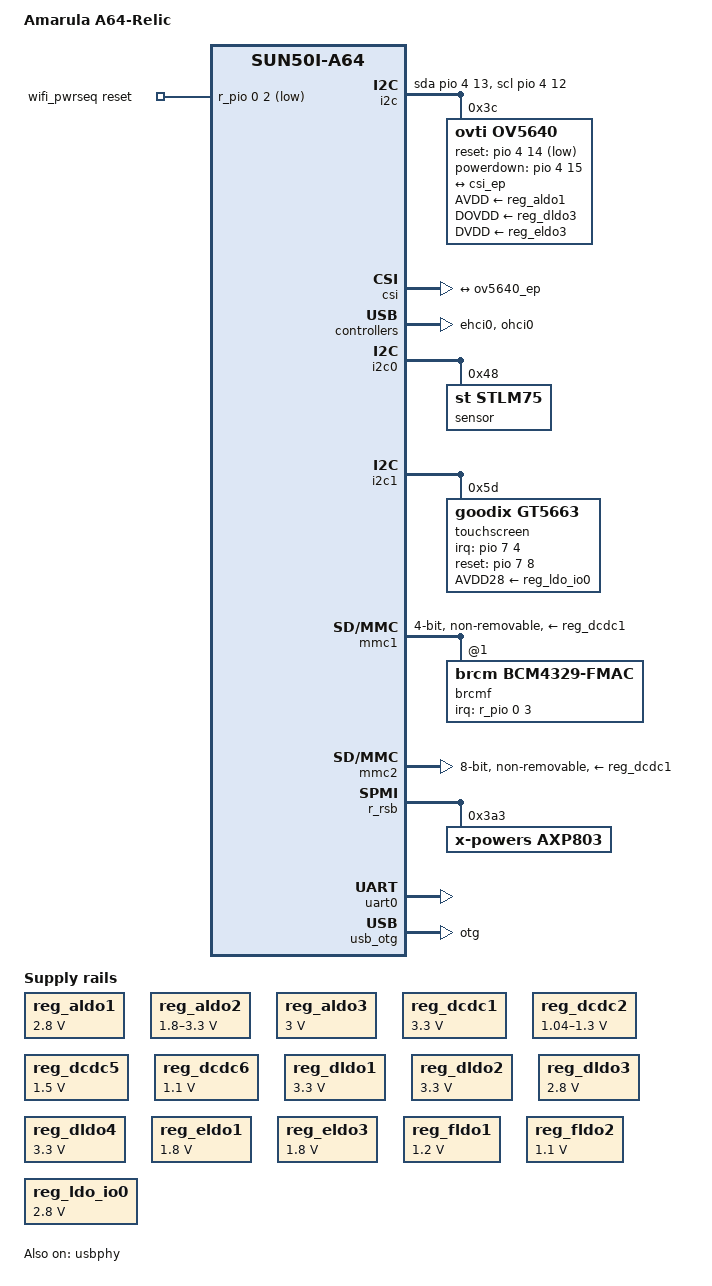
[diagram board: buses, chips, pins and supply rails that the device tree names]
// SPDX-License-Identifier: (GPL-2.0+ OR MIT)
/*
 * Copyright (C) 2018 Amarula Solutions B.V.
 * Author: Jagan Teki <jagan@amarulasolutions.com>
 */

/dts-v1/;

#include "sun50i-a64.dtsi"

#include <dt-bindings/gpio/gpio.h>

/ {
	model = "Amarula A64-Relic";
	compatible = "amarula,a64-relic", "allwinner,sun50i-a64";

	aliases {
		serial0 = &uart0;
	};

	chosen {
		stdout-path = "serial0:115200n8";
	};

	i2c {
		compatible = "i2c-gpio";
		sda-gpios = <&pio 4 13 GPIO_ACTIVE_HIGH>;
		scl-gpios = <&pio 4 12 GPIO_ACTIVE_HIGH>;
		i2c-gpio,delay-us = <5>;
		#address-cells = <1>;
		#size-cells = <0>;

		ov5640: camera@3c {
			compatible = "ovti,ov5640";
			reg = <0x3c>;
			pinctrl-names = "default";
			pinctrl-0 = <&csi_mclk_pin>;
			clocks = <&ccu CLK_CSI_MCLK>;
			clock-names = "xclk";

			AVDD-supply = <&reg_aldo1>;
			DOVDD-supply = <&reg_dldo3>;
			DVDD-supply = <&reg_eldo3>;
			reset-gpios = <&pio 4 14 GPIO_ACTIVE_LOW>; /* CSI-RST-R: PE14 */
			powerdown-gpios = <&pio 4 15 GPIO_ACTIVE_HIGH>; /* CSI-STBY-R: PE15 */

			port {
				ov5640_ep: endpoint {
					remote-endpoint = <&csi_ep>;
					bus-width = <8>;
					hsync-active = <1>; /* Active high */
					vsync-active = <0>; /* Active low */
					data-active = <1>;  /* Active high */
					pclk-sample = <1>;  /* Rising */
				};
			};
		};
	};

	wifi_pwrseq: wifi-pwrseq {
		compatible = "mmc-pwrseq-simple";
		clocks = <&rtc 1>;
		clock-names = "ext_clock";
		reset-gpios = <&r_pio 0 2 GPIO_ACTIVE_LOW>; /* WL-PMU-EN: PL2 */
	};
};

&csi {
	status = "okay";

	port {
		csi_ep: endpoint {
			remote-endpoint = <&ov5640_ep>;
			bus-width = <8>;
			hsync-active = <1>; /* Active high */
			vsync-active = <0>; /* Active low */
			data-active = <1>;  /* Active high */
			pclk-sample = <1>;  /* Rising */
		};
	};
};

&ehci0 {
	status = "okay";
};

&i2c0 {
	status = "okay";

	sensor@48 {
		compatible = "st,stlm75";
		reg = <0x48>;
	};
};

&i2c0_pins {
	bias-pull-up;
};

&i2c1 {
	status = "okay";

	touchscreen@5d {
		compatible = "goodix,gt5663";
		reg = <0x5d>;
		AVDD28-supply = <&reg_ldo_io0>;			/* VCC-CTP: GPIO0-LDO */
		interrupt-parent = <&pio>;
		interrupts = <7 4 IRQ_TYPE_EDGE_FALLING>;
		irq-gpios = <&pio 7 4 GPIO_ACTIVE_HIGH>;	/* CTP-INT: PH4 */
		reset-gpios = <&pio 7 8 GPIO_ACTIVE_HIGH>;	/* CTP-RST: PH8 */
		touchscreen-inverted-x;
		touchscreen-inverted-y;
	};
};

&mmc1 {
	pinctrl-names = "default";
	pinctrl-0 = <&mmc1_pins>;
	vmmc-supply = <&reg_dcdc1>;
	/*
	 * Schematic shows both dldo4 and eldo1 connected for vcc-io-wifi, but
	 * dldo4 connection shows DNP(Do Not Populate) and eldo1 connected with
	 * 0Ohm register to vcc-io-wifi so eldo1 is used.
	 */
	vqmmc-supply = <&reg_eldo1>;
	mmc-pwrseq = <&wifi_pwrseq>;
	bus-width = <4>;
	non-removable;
	status = "okay";

	brcmf: wifi@1 {
		reg = <1>;
		compatible = "brcm,bcm4329-fmac";
		interrupt-parent = <&r_pio>;
		interrupts = <0 3 IRQ_TYPE_LEVEL_LOW>;	/* WL-WAKE-AP: PL3 */
		interrupt-names = "host-wake";
	};
};

&mmc2 {
	pinctrl-names = "default";
	pinctrl-0 = <&mmc2_pins>;
	vmmc-supply = <&reg_dcdc1>;
	bus-width = <8>;
	non-removable;
	cap-mmc-hw-reset;
	status = "okay";
};

&ohci0 {
	status = "okay";
};

&r_rsb {
	status = "okay";

	axp803: pmic@3a3 {
		compatible = "x-powers,axp803";
		reg = <0x3a3>;
		interrupt-parent = <&r_intc>;
		interrupts = <0 IRQ_TYPE_LEVEL_LOW>;
		x-powers,drive-vbus-en; /* set N_VBUSEN as output pin */
	};
};

#include "axp803.dtsi"

&reg_aldo1 {
	regulator-always-on;
	regulator-min-microvolt = <2800000>;
	regulator-max-microvolt = <2800000>;
	regulator-name = "avdd-csi";
};

&reg_aldo2 {
	regulator-always-on;
	regulator-min-microvolt = <1800000>;
	regulator-max-microvolt = <3300000>;
	regulator-name = "vcc-pl";
};

&reg_aldo3 {
	regulator-always-on;
	regulator-min-microvolt = <3000000>;
	regulator-max-microvolt = <3000000>;
	regulator-name = "vcc-pll-avcc";
};

&reg_dcdc1 {
	regulator-always-on;
	regulator-min-microvolt = <3300000>;
	regulator-max-microvolt = <3300000>;
	regulator-name = "vcc-3v3";
};

&reg_dcdc2 {
	regulator-always-on;
	regulator-min-microvolt = <1040000>;
	regulator-max-microvolt = <1300000>;
	regulator-name = "vdd-cpux";
};

/* DCDC3 is polyphased with DCDC2 */

&reg_dcdc5 {
	regulator-always-on;
	regulator-min-microvolt = <1500000>;
	regulator-max-microvolt = <1500000>;
	regulator-name = "vcc-dram";
};

&reg_dcdc6 {
	regulator-always-on;
	regulator-min-microvolt = <1100000>;
	regulator-max-microvolt = <1100000>;
	regulator-name = "vdd-sys";
};

&reg_dldo1 {
	regulator-min-microvolt = <3300000>;
	regulator-max-microvolt = <3300000>;
	regulator-name = "vcc-hdmi-dsi-sensor";
};

&reg_dldo2 {
	regulator-min-microvolt = <3300000>;
	regulator-max-microvolt = <3300000>;
	regulator-name = "vcc-mipi";
};

&reg_dldo3 {
	regulator-min-microvolt = <2800000>;
	regulator-max-microvolt = <2800000>;
	regulator-name = "dovdd-csi";
};

&reg_dldo4 {
	regulator-min-microvolt = <3300000>;
	regulator-max-microvolt = <3300000>;
	regulator-name = "vcc-wifi-io";
};

&reg_drivevbus {
	regulator-name = "usb0-vbus";
	status = "okay";
};

&reg_eldo1 {
	regulator-always-on;
	regulator-min-microvolt = <1800000>;
	regulator-max-microvolt = <1800000>;
	regulator-name = "cpvdd";
};

&reg_eldo3 {
	regulator-min-microvolt = <1800000>;
	regulator-max-microvolt = <1800000>;
	regulator-name = "dvdd-csi";
};

&reg_fldo1 {
	regulator-min-microvolt = <1200000>;
	regulator-max-microvolt = <1200000>;
	regulator-name = "vcc-1v2-hsic";
};

/*
 * The A64 chip cannot work without this regulator off, although
 * it seems to be only driving the AR100 core.
 * Maybe we don't still know well about CPUs domain.
 */
&reg_fldo2 {
	regulator-always-on;
	regulator-min-microvolt = <1100000>;
	regulator-max-microvolt = <1100000>;
	regulator-name = "vdd-cpus";
};

&reg_ldo_io0 {
	regulator-min-microvolt = <2800000>;
	regulator-max-microvolt = <2800000>;
	regulator-name = "vcc-ctp";
	status = "okay";
};

&reg_rtc_ldo {
	regulator-name = "vcc-rtc";
};

&uart0 {
	pinctrl-names = "default";
	pinctrl-0 = <&uart0_pb_pins>;
	status = "okay";
};

&usb_otg {
	dr_mode = "otg";
	status = "okay";
};

&usbphy {
	usb0_id_det-gpios = <&pio 7 9 GPIO_ACTIVE_HIGH>; /* PH9 */
	usb0_vbus-supply = <&reg_drivevbus>;
	status = "okay";
};
